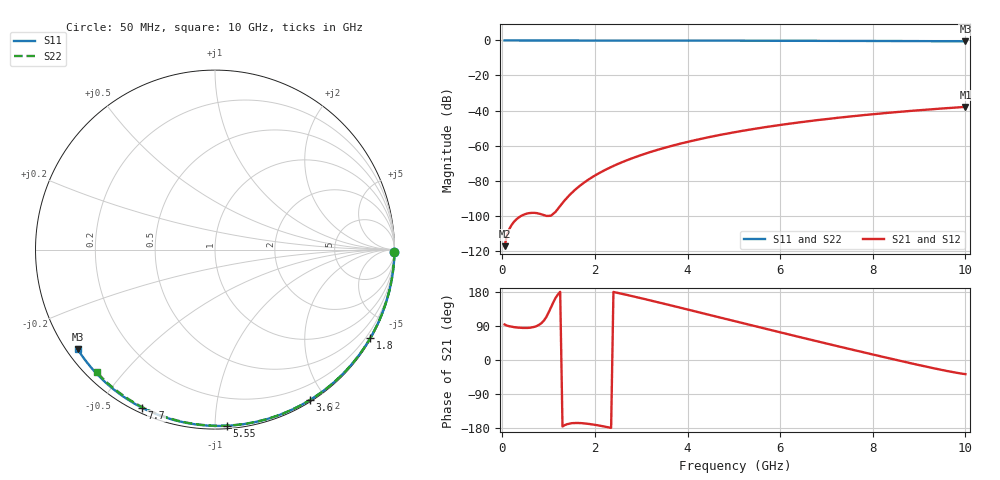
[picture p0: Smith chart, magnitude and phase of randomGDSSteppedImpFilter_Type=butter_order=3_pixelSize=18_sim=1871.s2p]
! freq	dB(S11)	phase(S11)	dB(S12)	phase(S12)
!  dB(S21)	phase(S21)	dB(S22)	phase(S22)
!S-par simulation data
#  GHz  S  DB  R 50
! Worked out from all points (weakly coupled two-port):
!   200 points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, 50 MHz to 10 GHz, reference 50 ohm
!   highest |S21| = -37.92 dB at 10 GHz (marker M1); lowest = -117.5 dB at 50 MHz (marker M2)
!   lowest |S11| = -0.5 dB at 10 GHz (marker M3), VSWR 35.56, Z = 1.55 - j16.2 ohm
!   |S11| at or under -10 dB: nowhere
!   |S22| runs from -0.5 to 0.0 dB; largest |S21 - S12| = 0
!   S11 on the Smith chart (normalised r, x): 50 MHz: open; 1.8 GHz: 0.03, -3.78; 3.6 GHz: 0.02, -1.81; 5.55 GHz: 0.02, -1.07; 7.7 GHz: 0.02, -0.64; 10 GHz: 0.03, -0.32
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0.05  -0.00 -0.8  -117.47 93.7  -117.47 93.7  -0.00 -0.8
0.45  -0.01 -7.5  -99.63 84.6  -99.63 84.6  -0.01 -6.9
0.9  -0.02 -14.9  -99.77 104.3  -99.77 104.3  -0.02 -13.8
1.3  -0.03 -21.5  -92.82 -175.3  -92.82 -175.3  -0.03 -19.8
1.75  -0.04 -28.8  -81.48 -167.0  -81.48 -167.0  -0.03 -26.6
1.8  -0.04 -29.6  -80.53 -167.6  -80.53 -167.6  -0.03 -27.3
1.85  -0.04 -30.4  -79.63 -168.4  -79.63 -168.4  -0.04 -28.0
2.05  -0.04 -33.6  -76.36 -172.1  -76.36 -172.1  -0.04 -31.0
2.2  -0.05 -36.0  -74.22 -175.5  -74.22 -175.5  -0.04 -33.2
2.55  -0.05 -41.6  -69.92 175.6  -69.92 175.6  -0.05 -38.4
2.95  -0.06 -47.8  -65.88 164.4  -65.88 164.4  -0.06 -44.1
3.4  -0.07 -54.7  -62.09 151.3  -62.09 151.3  -0.07 -50.5
3.6  -0.08 -57.8  -60.60 145.3  -60.60 145.3  -0.07 -53.4
4.3  -0.10 -68.2  -56.12 124.3  -56.12 124.3  -0.09 -63.0
5.05  -0.12 -79.0  -52.23 101.6  -52.23 101.6  -0.11 -73.1
5.55  -0.14 -86.0  -50.03 86.5  -50.03 86.5  -0.13 -79.7
6.1  -0.17 -93.6  -47.89 70.0  -47.89 70.0  -0.15 -86.7
6.7  -0.20 -101.6  -45.83 52.3  -45.83 52.3  -0.18 -94.2
7.7  -0.26 -114.7  -42.90 23.1  -42.90 23.1  -0.24 -106.3
8.35  -0.32 -123.1  -41.28 4.6  -41.28 4.6  -0.29 -114.1
9.25  -0.40 -134.5  -39.34 -20.1  -39.34 -20.1  -0.37 -124.7
10  -0.49 -144.0  -37.92 -37.4  -37.92 -37.4  -0.46 -133.9
